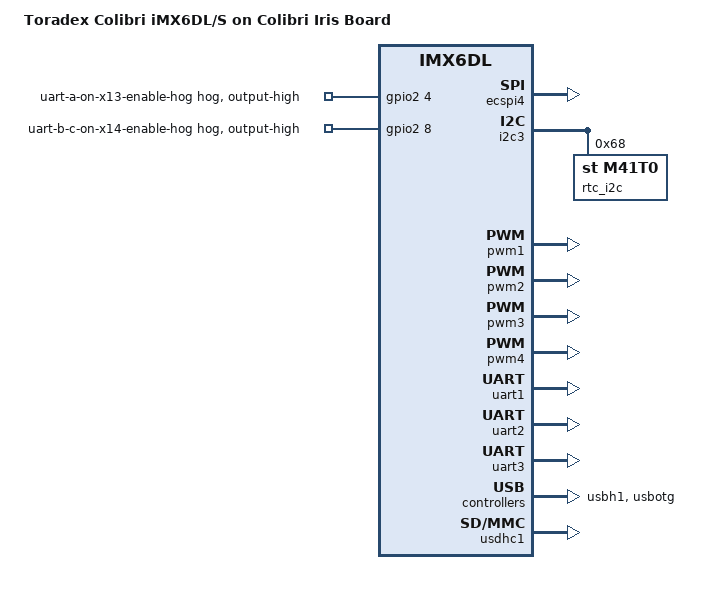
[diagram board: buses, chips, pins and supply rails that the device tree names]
// SPDX-License-Identifier: GPL-2.0-or-later OR MIT
/*
 * Copyright 2022 Toradex
 */

/dts-v1/;

#include <dt-bindings/input/input.h>
#include <dt-bindings/interrupt-controller/irq.h>
#include "imx6dl.dtsi"
#include "imx6qdl-colibri.dtsi"

/ {
	model = "Toradex Colibri iMX6DL/S on Colibri Iris Board";
	compatible = "toradex,colibri_imx6dl-iris", "toradex,colibri_imx6dl",
		     "fsl,imx6dl";

	aliases {
		i2c0 = &i2c2;
		i2c1 = &i2c3;
	};

	aliases {
		rtc0 = &rtc_i2c;
		rtc1 = &snvs_rtc;
	};

	chosen {
		stdout-path = "serial0:115200n8";
	};
};

/* Colibri SSP */
&ecspi4 {
	status = "okay";
};

&gpio2 {
	pinctrl-names = "default";
	pinctrl-0 = <&pinctrl_uart1_forceoff &pinctrl_uart23_forceoff>;

	/*
	 * uart-a-on-x13-enable turns the UART transceiver for UART_A on. If one
	 * wants to turn the transceiver off, that property has to be deleted
	 * and the gpio handled in userspace.
	 * The same applies to uart-b-c-on-x14-enable where the UART_B and
	 * UART_C transceiver is turned on.
	 */
	uart-a-on-x13-enable-hog {
		gpio-hog;
		gpios = <4 GPIO_ACTIVE_HIGH>; /* SODIMM 102 */
		output-high;
	};

	uart-b-c-on-x14-enable-hog {
		gpio-hog;
		gpios = <8 GPIO_ACTIVE_HIGH>; /* SODIMM 104 */
		output-high;
	};
};

/*
 * Colibri I2C: I2C3_SDA/SCL on SODIMM 194/196 (e.g. RTC on carrier board)
 */
&i2c3 {
	status = "okay";

	rtc_i2c: rtc@68 {
		compatible = "st,m41t0";
		reg = <0x68>;
	};
};

&iomuxc {
	pinctrl-names = "default";
	pinctrl-0 = <
		&pinctrl_gpio_iris
		&pinctrl_usbh_oc_1
		&pinctrl_usbc_id_1
	>;

	pinctrl_gpio_iris: gpioirisgrp {
		fsl,pins = <
			MX6QDL_PAD_EIM_A17__GPIO2_IO21	0x1b0b0
			MX6QDL_PAD_EIM_A18__GPIO2_IO20	0x1b0b0
			MX6QDL_PAD_EIM_A19__GPIO2_IO19	0x1b0b0
			MX6QDL_PAD_EIM_A20__GPIO2_IO18	0x1b0b0
			MX6QDL_PAD_EIM_A23__GPIO6_IO06	0x1b0b0
			MX6QDL_PAD_EIM_D27__GPIO3_IO27	0x1b0b0
			MX6QDL_PAD_NANDF_D3__GPIO2_IO03	0x1b0b0
			MX6QDL_PAD_SD2_DAT0__GPIO1_IO15	0x1b0b0
		>;
	};

	pinctrl_uart1_forceoff: uart1forceoffgrp {
		fsl,pins = <
			MX6QDL_PAD_NANDF_D4__GPIO2_IO04 0x1b0b0
		>;
	};

	pinctrl_uart23_forceoff: uart23forceoffgrp {
		fsl,pins = <
			MX6QDL_PAD_SD4_DAT0__GPIO2_IO08 0x1b0b0
		>;
	};
};

&pwm1 {
	status = "okay";
};

&pwm2 {
	status = "okay";
};

&pwm3 {
	status = "okay";
};

&pwm4 {
	status = "okay";
};

&reg_usb_host_vbus {
	status = "okay";
};

&uart1 {
	status = "okay";
};

&uart2 {
	status = "okay";
};

&uart3 {
	status = "okay";
};

&usbh1 {
	disable-over-current;
	status = "okay";
};

&usbotg {
	disable-over-current;
	status = "okay";
};

/* Colibri MMC */
&usdhc1 {
	status = "okay";
};
